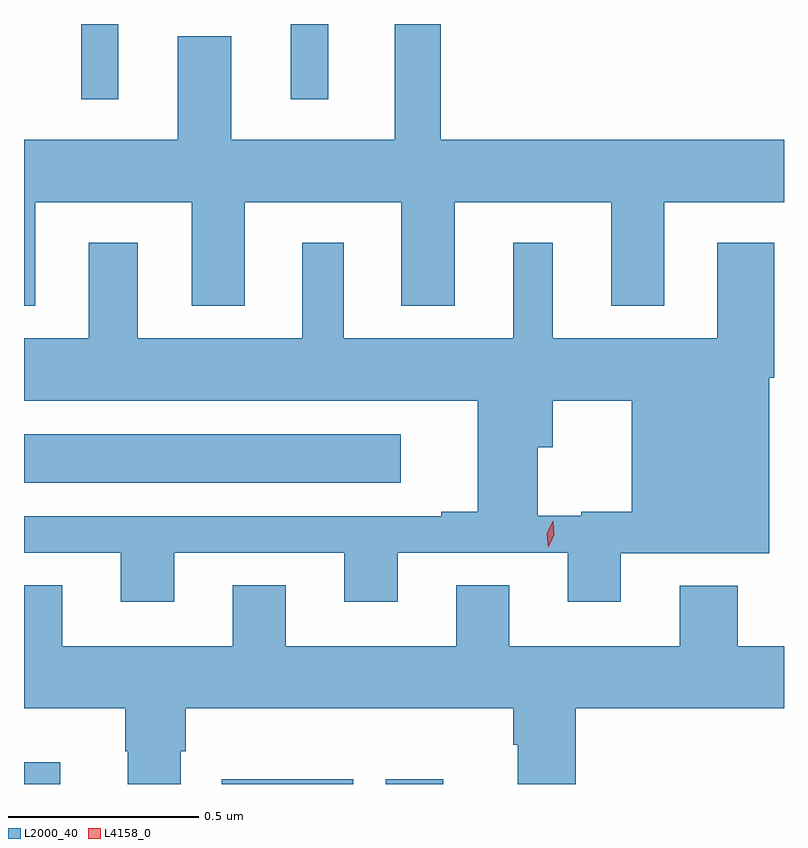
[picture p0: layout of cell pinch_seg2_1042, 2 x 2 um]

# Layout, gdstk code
import gdstk
lib = gdstk.Library(unit=1e-6, precision=1e-09)
def R(c, l, rs):  # rectangles x0, y0, x1, y1
    for r in rs: c.add(gdstk.rectangle(r[:2], r[2:], *l))
def P(c, l, *ps):  # polygons
    for p in ps: c.add(gdstk.Polygon(p, *l))
L2000_40 = (2000, 40)
L4158_0 = (4158, 0)

pinch_seg2_1042 = lib.new_cell('pinch_seg2_1042')
R(pinch_seg2_1042, L2000_40, [(338.864,611.473,338.959,611.53), (339.384,611.473,339.73,611.486), (339.816,611.473,339.967,611.485), (338.864,612.266,339.856,612.394), (339.014,613.275,339.112,613.473), (339.566,613.275,339.664,613.473)])
P(pinch_seg2_1042, L2000_40, [(338.893,613.004),(339.305,613.004),(339.305,612.731),(339.445,612.731),(339.445,613.004),(339.857,613.004),(339.857,612.731),(339.997,612.731),(339.997,613.004),(340.409,613.004),(340.409,612.731),(340.549,612.731),(340.549,613.004),(340.864,613.004),(340.864,613.168),(339.961,613.168),(339.961,613.473),(339.839,613.473),(339.839,613.168),(339.409,613.168),(339.409,613.441),(339.269,613.441),(339.269,613.168),(338.864,613.168),(338.864,612.731),(338.893,612.731)],
  [(338.864,612.177),(338.864,612.081),(339.119,612.081),(339.119,611.952),(339.259,611.952),(339.259,612.081),(339.707,612.081),(339.707,611.952),(339.847,611.952),(339.847,612.081),(340.295,612.081),(340.295,611.952),(340.435,611.952),(340.435,612.08),(340.825,612.08),(340.825,612.542),(340.838,612.542),(340.838,612.898),(340.688,612.898),(340.688,612.646),(340.255,612.646),(340.255,612.898),(340.151,612.898),(340.151,612.646),(339.706,612.646),(339.706,612.898),(339.596,612.898),(339.596,612.646),(339.163,612.646),(339.163,612.898),(339.035,612.898),(339.035,612.646),(338.864,612.646),(338.864,612.482),(340.058,612.482),(340.058,612.19),(339.962,612.19),(339.962,612.179),(340.216,612.179),(340.216,612.359),(340.255,612.359),(340.255,612.482),(340.463,612.482),(340.463,612.19),(340.331,612.19),(340.331,612.179),(340.216,612.179),(339.962,612.179),(339.962,612.177)],
  [(339.277,611.559),(339.29,611.559),(339.29,611.672),(340.151,611.672),(340.151,611.576),(340.163,611.576),(340.163,611.473),(340.316,611.473),(340.316,611.672),(340.864,611.672),(340.864,611.836),(340.742,611.836),(340.742,611.995),(340.589,611.995),(340.589,611.836),(340.141,611.836),(340.141,611.996),(340.001,611.996),(340.001,611.836),(339.553,611.836),(339.553,611.996),(339.413,611.996),(339.413,611.836),(338.965,611.836),(338.965,611.996),(338.864,611.996),(338.864,611.672),(339.13,611.672),(339.13,611.559),(339.137,611.559),(339.137,611.473),(339.277,611.473)])
P(pinch_seg2_1042, L4158_0, [(340.243,612.096),(340.243,612.096),(340.24,612.132),(340.256,612.164),(340.256,612.164),(340.257,612.164),(340.26,612.128),(340.244,612.096)])

lib.write_gds('pinch_seg2_1042.gds')
